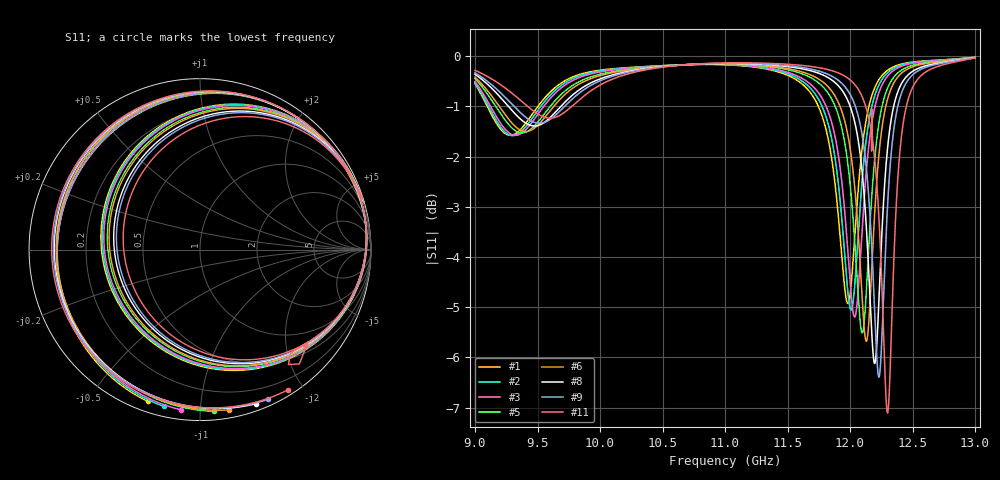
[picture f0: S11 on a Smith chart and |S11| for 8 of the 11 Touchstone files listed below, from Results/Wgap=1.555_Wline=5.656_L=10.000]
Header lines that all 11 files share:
! TOUCHSTONE file generated by CST DESIGN STUDIO
! Project name: C:\Work\MatlabApps\UnitCellOptimizationMatlab\CST\unitcell.cst
! Tree item: Tasks\Sweep1\SPara1\S-Parameters
! Header version: 2024
! Port assignment regex: !\s*Touchstone port\s*([0-9]+)\s*=\s*(CST MWS port|CST DES external port|CST DES block port)\s*(.+)\s* \(\"(.*)\"\)(\s*mode\s*([0-9]+))?.*
! Touchstone port assignment:
! Touchstone port 1 = CST DES external port 1 ("")
# GHz S MA R 50
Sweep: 9 GHz to 13 GHz
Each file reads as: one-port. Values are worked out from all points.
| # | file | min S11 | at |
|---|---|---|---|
| 1 | DS_for_MWS-run-0001.s1p | -4.9 dB | 11.98 GHz |
| 2 | DS_for_MWS-run-0002.s1p | -5.1 dB | 12.01 GHz |
| 3 | DS_for_MWS-run-0003.s1p | -5.2 dB | 12.04 GHz |
| 4 | DS_for_MWS-run-0004.s1p | -5.3 dB | 12.07 GHz |
| 5 | DS_for_MWS-run-0005.s1p | -5.5 dB | 12.1 GHz |
| 6 | DS_for_MWS-run-0006.s1p | -5.7 dB | 12.13 GHz |
| 7 | DS_for_MWS-run-0007.s1p | -5.9 dB | 12.16 GHz |
| 8 | DS_for_MWS-run-0008.s1p | -6.1 dB | 12.2 GHz |
| 9 | DS_for_MWS-run-0009.s1p | -6.4 dB | 12.23 GHz |
| 10 | DS_for_MWS-run-0010.s1p | -6.7 dB | 12.27 GHz |
| 11 | DS_for_MWS-run-0011.s1p | -7.1 dB | 12.3 GHz |
